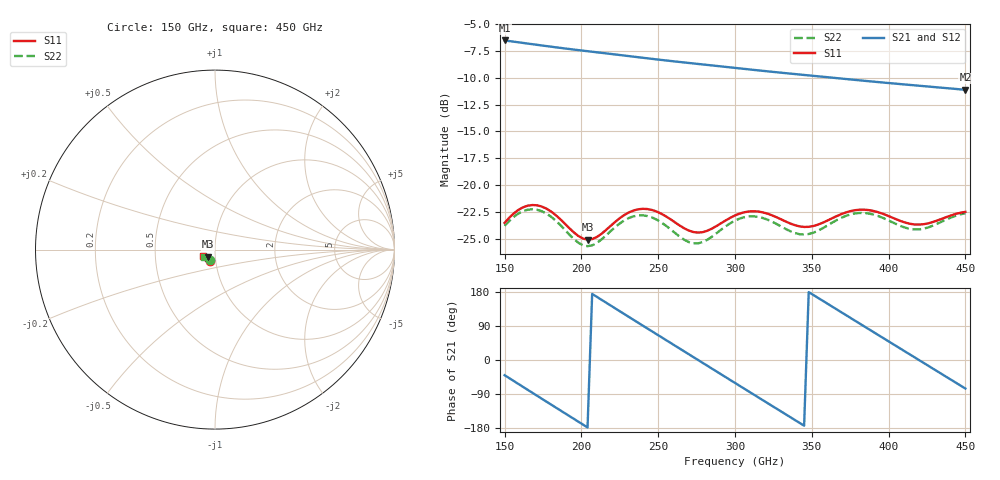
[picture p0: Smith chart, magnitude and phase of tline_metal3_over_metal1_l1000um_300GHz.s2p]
#  GHZ S DB R 50
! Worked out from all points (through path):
!   101 points, 150 GHz to 450 GHz, reference 50 ohm
!   highest |S21| = -6.50 dB at 150 GHz (marker M1); lowest = -11.1 dB at 450 GHz (marker M2)
!   group delay of S21, straight-line fit = 6.99 ps
!   lowest |S11| = -25.1 dB at 204 GHz (marker M3), VSWR 1.12, Z = 46.1 - j3.61 ohm
!   |S11| at or under -10 dB: start of sweep to end of sweep
!   |S22| runs from -25.7 to -22.3 dB; largest |S21 - S12| = 6.6e-14
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150  -23.53 -113.0  -6.50 -40.1  -6.50 -40.1  -23.80 -115.1
162  -22.08 -121.5  -6.74 -70.9  -6.74 -70.9  -22.44 -123.3
174  -22.00 -133.6  -6.97 -101.6  -6.97 -101.6  -22.43 -135.3
189  -23.57 -142.8  -7.25 -139.9  -7.25 -139.9  -24.14 -144.1
201  -24.99 -138.0  -7.46 -170.4  -7.46 -170.4  -25.62 -138.4
204  -25.09 -135.4  -7.51 -178.0  -7.51 -178.0  -25.71 -135.4
216  -24.20 -127.4  -7.71 151.5  -7.71 151.5  -24.71 -127.3
231  -22.55 -131.5  -7.97 113.5  -7.97 113.5  -23.07 -132.2
240  -22.22 -138.0  -8.12 90.7  -8.12 90.7  -22.83 -139.0
252  -22.67 -145.8  -8.32 60.4  -8.32 60.4  -23.48 -146.7
264  -23.78 -148.0  -8.51 30.1  -8.51 30.1  -24.82 -147.6
276  -24.44 -142.6  -8.70 -0.1  -8.70 -0.1  -25.44 -139.6
288  -23.82 -137.3  -8.88 -30.3  -8.88 -30.3  -24.49 -133.3
300  -22.84 -138.8  -9.07 -60.5  -9.07 -60.5  -23.32 -135.7
321  -22.66 -148.8  -9.38 -113.2  -9.38 -113.2  -23.22 -147.0
336  -23.59 -150.5  -9.60 -150.8  -9.60 -150.8  -24.31 -147.9
351  -23.83 -145.0  -9.81 171.6  -9.81 171.6  -24.45 -140.7
366  -22.91 -143.3  -10.02 134.1  -10.02 134.1  -23.29 -138.9
378  -22.35 -147.2  -10.18 104.1  -10.18 104.1  -22.65 -143.5
402  -23.01 -155.1  -10.51 44.2  -10.51 44.2  -23.44 -152.0
426  -23.57 -149.2  -10.81 -15.6  -10.81 -15.6  -23.94 -144.2
450  -22.50 -150.6  -11.11 -75.4  -11.11 -75.4  -22.63 -145.8
